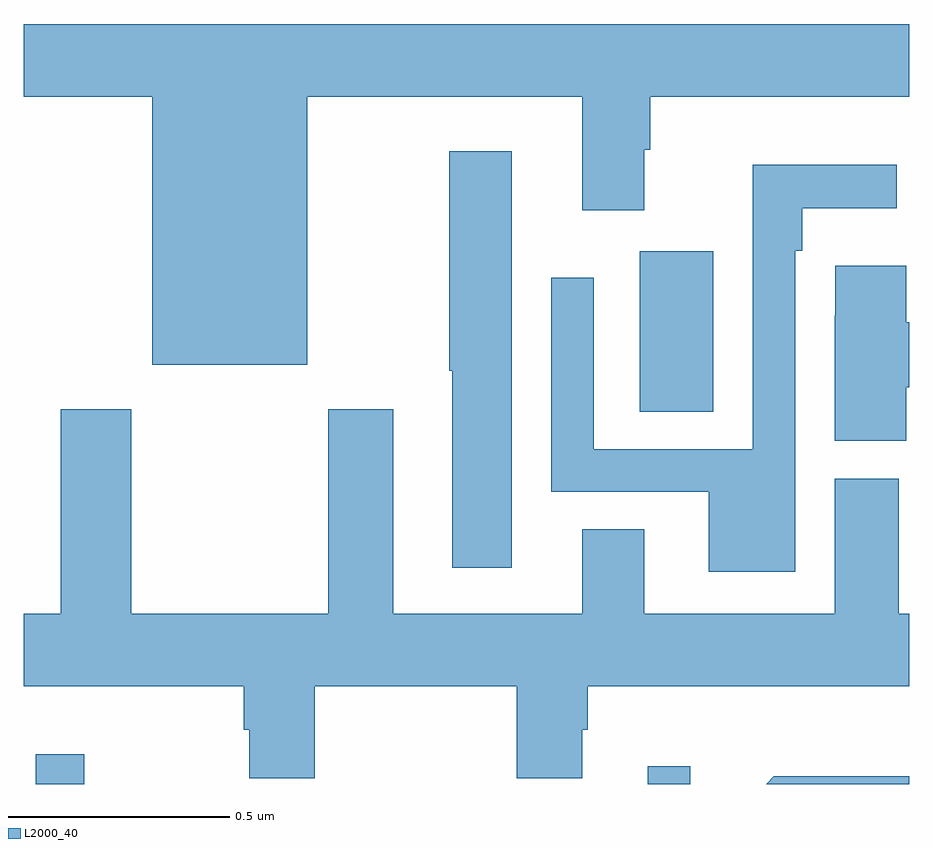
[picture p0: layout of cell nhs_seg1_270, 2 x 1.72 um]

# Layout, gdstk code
import gdstk
lib = gdstk.Library(unit=1e-6, precision=1e-09)
def R(c, l, rs):  # rectangles x0, y0, x1, y1
    for r in rs: c.add(gdstk.rectangle(r[:2], r[2:], *l))
def P(c, l, *ps):  # polygons
    for p in ps: c.add(gdstk.Polygon(p, *l))
L2000_40 = (2000, 40)

nhs_seg1_270 = lib.new_cell('nhs_seg1_270')
R(nhs_seg1_270, L2000_40, [(114.027,530.199,114.136,530.266), (115.409,530.199,115.506,530.239), (115.391,531.04,115.558,531.403)])
P(nhs_seg1_270, L2000_40, [(114.64,531.752),(115.262,531.752),(115.262,531.495),(115.402,531.495),(115.402,531.632),(115.415,531.632),(115.415,531.752),(116,531.752),(116,531.916),(114,531.916),(114,531.752),(114.29,531.752),(114.29,531.146),(114.64,531.146)],
  [(115.102,531.628),(114.961,531.628),(114.961,531.133),(114.968,531.133),(114.968,530.688),(115.102,530.688)],
  [(115.743,531.404),(115.759,531.404),(115.759,531.5),(115.972,531.5),(115.972,531.598),(115.647,531.598),(115.647,530.955),(115.287,530.955),(115.287,531.343),(115.191,531.343),(115.191,530.859),(115.547,530.859),(115.547,530.678),(115.743,530.678)],
  [(115.994,531.095),(116,531.095),(116,531.242),(115.994,531.242),(115.994,531.37),(115.833,531.37),(115.833,531.257),(115.832,531.257),(115.832,530.974),(115.994,530.974)],
  [(114.657,530.42),(115.114,530.42),(115.114,530.212),(115.261,530.212),(115.261,530.322),(115.274,530.322),(115.274,530.42),(116,530.42),(116,530.584),(115.976,530.584),(115.976,530.889),(115.832,530.889),(115.832,530.584),(115.402,530.584),(115.402,530.774),(115.262,530.774),(115.262,530.584),(114.835,530.584),(114.835,531.046),(114.688,531.046),(114.688,530.584),(114.243,530.584),(114.243,531.046),(114.083,531.046),(114.083,530.584),(114,530.584),(114,530.42),(114.497,530.42),(114.497,530.322),(114.509,530.322),(114.509,530.212),(114.657,530.212)],
  [(116,530.216),(115.694,530.216),(115.677,530.199),(116,530.199)])

lib.write_gds('nhs_seg1_270.gds')
